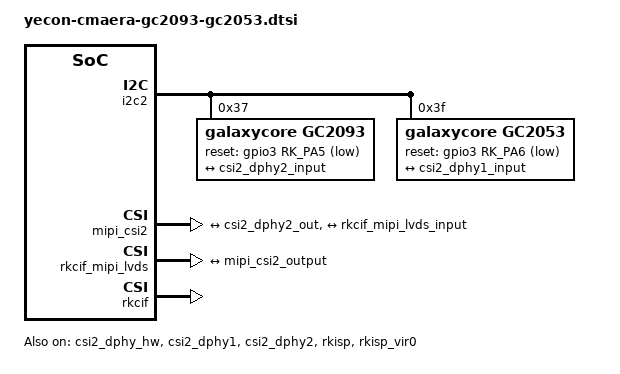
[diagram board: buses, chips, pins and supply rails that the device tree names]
/*
split mode:
	sensor1 2xlane  MIPI_CSI_RX_D0-1  MIPI_CSI_RX_CLK0
	snesor2 2xlane  MIPI_CSI_RX_D2-3  MIPI_CSI_RX_CLK1
link:
	sensor1->csi_dphy1->isp_vir0
	sensor2->csi_dphy2->mipi_csi2->rkcif->isp_vir1
*/

&i2c2 {
	status = "okay";
	pinctrl-0 = <&i2c2m1_xfer>;

	/* split mode: lane:0/1 */
	gc2093: gc2093@37 {
        status = "okay";
		compatible = "galaxycore,gc2093";
		reg = <0x37>;
		clocks = <&cru CLK_CIF_OUT>;
		clock-names = "xvclk";
		power-domains = <&power RK3568_PD_VI>;
		pinctrl-names = "default";
		pinctrl-0 = <&cif_clk>;
	/*
        avdd-supply = <&vcc_avdd>;
		dovdd-supply = <&vcc_dovdd>;
		dvdd-supply = <&vcc_dvdd>;
		pwdn-gpios = <&gpio1 RK_PD6 GPIO_ACTIVE_HIGH>;
    */
		reset-gpios = <&gpio3 RK_PA5 GPIO_ACTIVE_LOW>;
		rockchip,camera-module-index = <0>;
		rockchip,camera-module-facing = "back";
		rockchip,camera-module-name = "YT-RV1109-2-V1";
		rockchip,camera-module-lens-name = "40IR-2MP-F20";
		port {
			cam_gc2093_output: endpoint {
				remote-endpoint = <&csi2_dphy2_input>;
				data-lanes = <1 2>;
			};
		};
	};

    gc2053: gc2053@3f {
		compatible = "galaxycore,gc2053";
		reg = <0x3f>;
		status = "okay";
		power-domains = <&power RK3568_PD_VI>;
		clocks = <&pmucru CLK_WIFI>;
		clock-names = "xvclk";
		pinctrl-names = "default";
		pinctrl-0 = <&refclk_pins>;
	/*
        avdd-supply = <&vcc_avdd>;
		dovdd-supply = <&vcc_dovdd>;
		dvdd-supply = <&vcc_dvdd>;
        pwdn-gpios = <&gpio4 RK_PB2 GPIO_ACTIVE_HIGH>;
	*/
		reset-gpios = <&gpio3 RK_PA6 GPIO_ACTIVE_LOW>;

		rockchip,camera-module-index = <1>;
		rockchip,camera-module-facing = "back";
		rockchip,camera-module-name = "YT-RV1109-2-V1";
		rockchip,camera-module-lens-name = "40IR-2MP-F20";
		port {
			cam_gc2053_output: endpoint {
				remote-endpoint = <&csi2_dphy1_input>;
				data-lanes = <1 2>;
			};
		};
	};
};

&csi2_dphy_hw {
      status = "okay";
};

&csi2_dphy0 {
	 status = "disabled";
};

&csi2_dphy1 {
	status = "okay";

	ports {
		#address-cells = <1>;
		#size-cells = <0>;

		port@0 {
			reg = <0>;
			#address-cells = <1>;
			#size-cells = <0>;

			csi2_dphy1_input: endpoint@1 {
				reg = <1>;
				remote-endpoint = <&cam_gc2053_output>;
				data-lanes = <1 2>;
			};
		};

		port@1 {
			reg = <1>;
			#address-cells = <1>;
			#size-cells = <0>;

			csi2_dphy1_out: endpoint@1 {
				reg = <1>;
				remote-endpoint = <&rkisp_vir0_input>;
			};
		};
	};
};

&csi2_dphy2 {
	status = "okay";

	ports {
		#address-cells = <1>;
		#size-cells = <0>;

		port@0 {
			reg = <0>;
			#address-cells = <1>;
			#size-cells = <0>;

			csi2_dphy2_input: endpoint@1 {
				reg = <1>;
				remote-endpoint = <&cam_gc2093_output>;
				data-lanes = <1 2>;
			};
		};

		port@1 {
			reg = <1>;
			#address-cells = <1>;
			#size-cells = <0>;

			csi2_dphy2_out: endpoint@1 {
				reg = <1>;
				remote-endpoint = <&mipi_csi2_input>;
			};
		};
	};
};

&mipi_csi2 {
	status = "okay";

	ports {
		#address-cells = <1>;
		#size-cells = <0>;

		port@0 {
			reg = <0>;
			#address-cells = <1>;
			#size-cells = <0>;

			mipi_csi2_input: endpoint@1 {
				reg = <1>;
				remote-endpoint = <&csi2_dphy2_out>;
				data-lanes = <1 2>;
			};
		};

		port@1 {
			reg = <1>;
			#address-cells = <1>;
			#size-cells = <0>;

			mipi_csi2_output: endpoint@0 {
				reg = <0>;
				remote-endpoint = <&rkcif_mipi_lvds_input>;
				data-lanes = <1 2>;
			};
		};
	};
};

&rkcif_mipi_lvds {
	status = "okay";

	port {
		rkcif_mipi_lvds_input: endpoint {
			remote-endpoint = <&mipi_csi2_output>;
			data-lanes = <1 2>;
		};
	};
};

&rkisp {
	status = "okay";
};

&rkisp_mmu {
	status = "okay";
};

&rkisp_vir0 {
	status = "okay";

	port {
		#address-cells = <1>;
		#size-cells = <0>;

		rkisp_vir0_input: endpoint@0 {
			reg = <0>;
			remote-endpoint = <&csi2_dphy1_out>;
		};
	};
};

&rkcif_mmu {
    status = "okay";
};

&rkcif {
    status = "okay";
};

#if 0
&rkcif_mipi_lvds_sditf {
	status = "okay";

	port {
		mipi_lvds_sditf: endpoint {
			remote-endpoint = <&isp1_in>;
			data-lanes = <1 2>;
		};
	};
};

&rkisp_vir1 {
	status = "okay";

	port {
		//reg = <0>;
		#address-cells = <1>;
		#size-cells = <0>;

		isp1_in: endpoint@0 {
			reg = <0>;
			remote-endpoint = <&mipi_lvds_sditf>;
		};
	};
};
#endif
